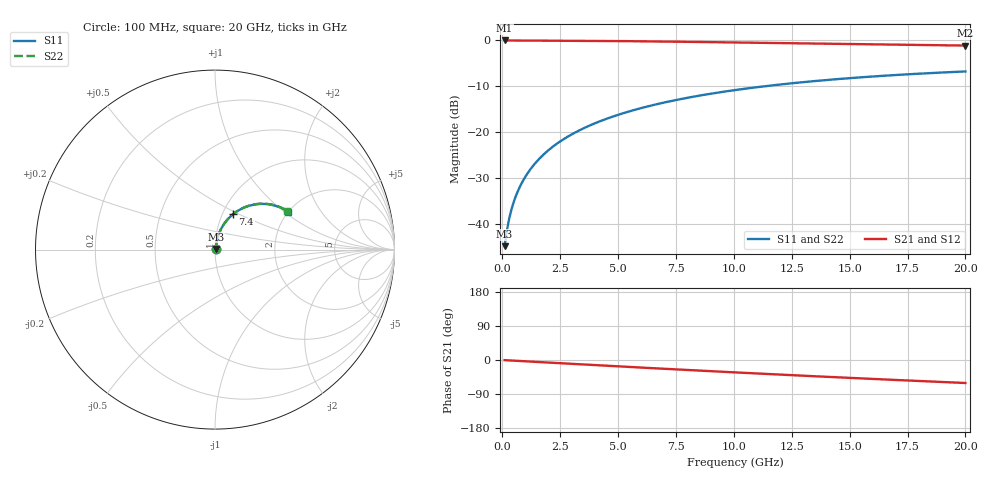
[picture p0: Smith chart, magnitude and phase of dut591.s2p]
! Touchstone file exported from HFSS 2026.1.0
!  File:  C:/ffzhzh/LocalFiles/Ansys_Project_Files/temp_train_TMRDL_591_1783008423_46388.aedt
!  Generated:  12:08:44 AM Jul  3, 2026
!  Design:  TMRDL
!  Project:  temp_train_TMRDL_591_1783008423_46388
! Variables:
!  h_bsmrdl = 2um
!  h_ox = 20um
!  h_rdl = 5um
!  h_sub = 80um
!  h_tmrdl = 3.03um
!  h_tsv = 80um
!  h_via = 3um
!  l_bsmrdl = 300um
!  l_sub = 1366.24um
!  l_tmrdl = 966.24um
!  m_sub = 200um
!  pitch = 52.18um
!  r_tsv = 6um
!  s_tmrdl = 10um
!  w_bsmrdl = 18um
!  w_sub = 500um
!  w_tmrdl = 26.88um
!  x_tsv_center1 = 979.68um
!  x_tsv_center2 = 1297.68um
!  x_tsv_center3 = 2290.8um
!  x_tsv_center4 = 2608.8um
!  x_tsv_center5 = 3601.92um
!  x_tsv_center6 = 3919.92um
# GHz S MA R 50.000000
! Terminal data exported
! Port[1] = TM_RDL1_1_T1
! Port[2] = TM_RDL1_1_T2
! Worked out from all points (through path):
!   200 points, 100 MHz to 20 GHz, reference 50 ohm
!   highest |S21| = -0.04 dB at 100 MHz (marker M1); lowest = -1.1 dB at 20 GHz (marker M2)
!   group delay of S21, straight-line fit = 8.43 ps
!   lowest |S11| = -44.9 dB at 100 MHz (marker M3), VSWR 1.01, Z = 50.4 + j0.359 ohm
!   |S11| at or under -10 dB: start of sweep to 11.36 GHz
!   |S22| runs from -44.9 to -6.8 dB; largest |S21 - S12| = 9.2e-15
!   S11 on the Smith chart (normalised r, x): 100 MHz: 1.01, +0.01; 7.4 GHz: 1.12, +0.46; 20 GHz: 1.98, +1.06
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0.1  0.005711 38.5  0.9955 -0.4  0.9955 -0.4  0.005711 38.5
! Gamma 0 0 0 0
! Port Impedance 50 0 50 0
0.2  0.008459 55.5  0.9953 -0.7  0.9953 -0.7  0.008459 55.5
0.3  0.01146 63.1  0.995 -1.1  0.995 -1.1  0.01146 63.2
0.4  0.01448 67.4  0.9947 -1.4  0.9947 -1.4  0.01448 67.4
0.5  0.0175 70.2  0.9945 -1.7  0.9945 -1.7  0.0175 70.2
0.6  0.02052 72.2  0.9943 -2.1  0.9943 -2.1  0.02052 72.2
0.8  0.0266 74.8  0.9939 -2.7  0.9939 -2.7  0.0266 74.8
1.1  0.0358 76.7  0.9935 -3.8  0.9935 -3.8  0.0358 76.7
1.3  0.04198 77.3  0.9931 -4.4  0.9931 -4.4  0.04198 77.4
1.6  0.05127 77.7  0.9926 -5.4  0.9926 -5.4  0.05127 77.7
2.1  0.06676 77.4  0.9915 -7.1  0.9915 -7.1  0.06675 77.5
2.7  0.08525 76.4  0.9898 -9.1  0.9898 -9.1  0.08525 76.5
3.5  0.1096 74.5  0.987 -11.8  0.987 -11.8  0.1096 74.6
4.2  0.1306 72.6  0.9841 -14.1  0.9841 -14.1  0.1306 72.7
5  0.1541 70.3  0.9802 -16.8  0.9802 -16.8  0.1541 70.4
6.8  0.2046 64.8  0.9698 -22.6  0.9698 -22.6  0.2046 65.0
7.4  0.2207 63.0  0.966 -24.5  0.966 -24.5  0.2207 63.2
8.7  0.2541 59.1  0.957 -28.6  0.957 -28.6  0.2541 59.2
10.1  0.2878 54.9  0.9468 -32.9  0.9468 -32.9  0.2878 55.1
13.4  0.3577 45.3  0.9217 -42.6  0.9217 -42.6  0.3577 45.6
16.7  0.4141 36.3  0.8975 -51.9  0.8975 -51.9  0.414 36.6
20  0.4575 27.6  0.8762 -60.7  0.8762 -60.7  0.4574 28.0
